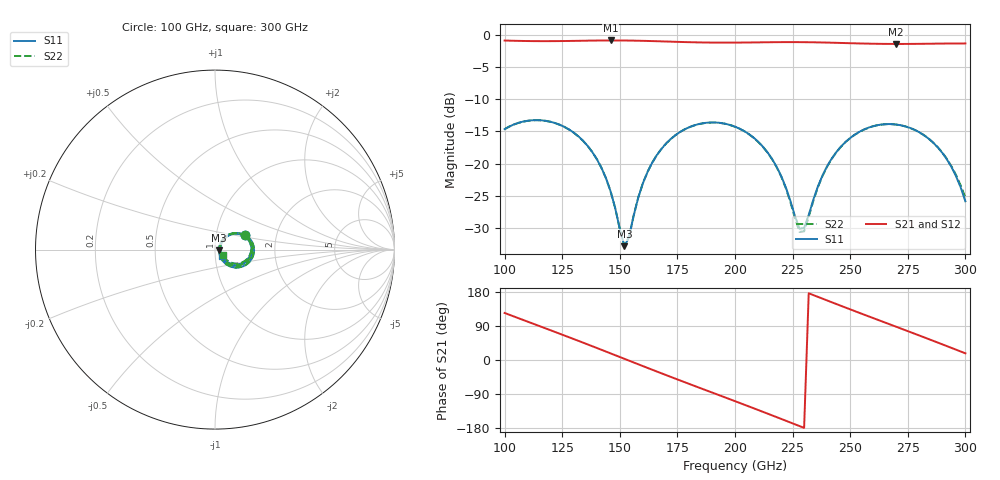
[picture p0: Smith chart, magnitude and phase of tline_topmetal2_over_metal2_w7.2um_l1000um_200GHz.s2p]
#  GHZ S DB R 50
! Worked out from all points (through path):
!   101 points, 100 GHz to 300 GHz, reference 50 ohm
!   highest |S21| = -0.87 dB at 146 GHz (marker M1); lowest = -1.4 dB at 270 GHz (marker M2)
!   group delay of S21, straight-line fit = 6.49 ps
!   lowest |S11| = -32.8 dB at 152 GHz (marker M3), VSWR 1.05, Z = 52.3 - j0.384 ohm
!   |S11| at or under -10 dB: start of sweep to end of sweep
!   |S22| runs from -32.8 to -13.3 dB; largest |S21 - S12| = 9.9e-14
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100  -14.65 26.7  -0.88 124.1  -0.88 124.1  -14.66 26.9
116  -13.28 -5.8  -0.98 87.5  -0.98 87.5  -13.29 -5.7
134  -16.44 -41.6  -0.92 45.9  -0.92 45.9  -16.45 -41.5
146  -24.31 -55.2  -0.87 17.5  -0.87 17.5  -24.33 -55.0
152  -32.84 -9.3  -0.88 3.1  -0.88 3.1  -32.79 -8.9
160  -23.08 52.7  -0.93 -16.0  -0.93 -16.0  -23.07 52.7
168  -17.75 43.7  -1.01 -34.9  -1.01 -34.9  -17.75 43.7
184  -13.89 13.4  -1.17 -72.0  -1.17 -72.0  -13.90 13.4
200  -14.27 -18.1  -1.21 -108.6  -1.21 -108.6  -14.28 -18.2
216  -19.23 -45.0  -1.15 -145.9  -1.15 -145.9  -19.28 -45.5
222  -23.65 -46.9  -1.13 -160.1  -1.13 -160.1  -23.76 -47.9
228  -30.12 -12.2  -1.14 -174.4  -1.14 -174.4  -30.63 -12.7
230  -30.03 14.9  -1.14 -179.2  -1.14 -179.2  -30.53 16.4
234  -25.62 44.1  -1.16 171.3  -1.16 171.3  -25.79 46.3
240  -20.40 47.6  -1.21 157.1  -1.21 157.1  -20.46 49.2
248  -16.64 36.9  -1.28 138.3  -1.28 138.3  -16.66 38.2
258  -14.42 18.6  -1.37 115.2  -1.37 115.2  -14.43 19.9
268  -13.87 -0.8  -1.41 92.2  -1.41 92.2  -13.89 0.6
270  -13.93 -4.7  -1.42 87.7  -1.42 87.7  -13.95 -3.3
288  -17.48 -37.9  -1.37 46.0  -1.37 46.0  -17.45 -35.1
294  -20.57 -45.4  -1.35 31.8  -1.35 31.8  -20.46 -41.3
300  -25.85 -41.9  -1.34 17.6  -1.34 17.6  -25.30 -35.3
